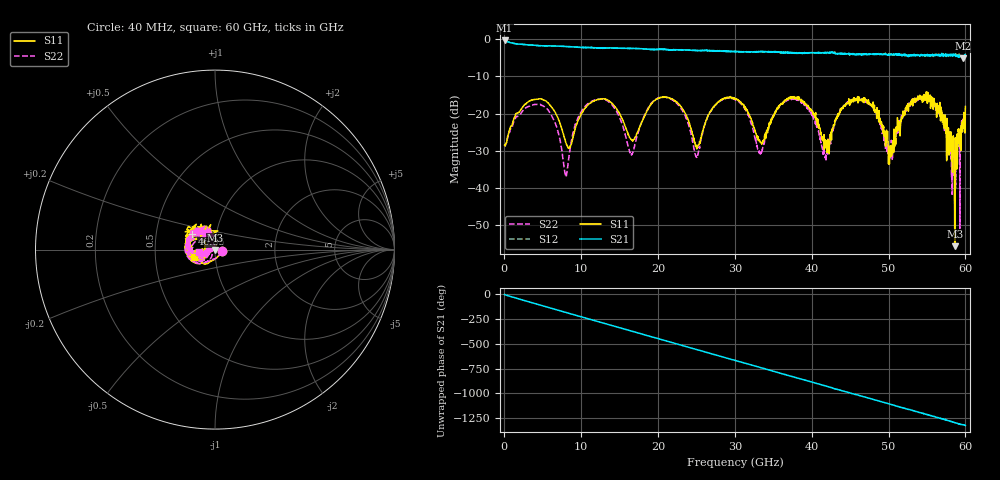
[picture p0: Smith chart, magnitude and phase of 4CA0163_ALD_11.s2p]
! File created by 'SoftPlot +Plus+ Measurement Management Software'
! SoftPlot +Plus+ Measurement Management Software
! Start 40.000000 MHz  Stop 60.000000 GHz  Points 1601
# MHZ S RI R 50
! S-Parameter data, F S11 S21 S12 S22
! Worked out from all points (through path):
!   1601 points, 40 MHz to 60 GHz, reference 50 ohm
!   highest |S21| = -0.37 dB at 40 MHz (marker M1); lowest = -5.2 dB at 59.66 GHz (marker M2)
!   group delay of S21, straight-line fit = 61.1 ps
!   lowest |S11| = -55.6 dB at 58.61 GHz (marker M3), VSWR 1.00, Z = 50 - j0.165 ohm
!   |S11| at or under -10 dB: start of sweep to end of sweep
!   |S22| runs from -50.8 to -15.4 dB; largest |S21 - S12| = 0.075
!   S11 on the Smith chart (normalised r, x): 40 MHz: 1.08, -0.02; 46.85 GHz: 0.76, +0.14; 60 GHz: 0.79, -0.07
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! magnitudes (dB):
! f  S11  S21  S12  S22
! 40 MHz  -28.4  -0.4  -0.4  -28.4
! 4.874 GHz  -16.2  -1.8  -1.8  -17.8
! 8.022 GHz  -27.9  -2.0  -2.0  -37.0
! 10.05 GHz  -20.1  -2.3  -2.3  -19.4
! 13.64 GHz  -16.6  -2.3  -2.4  -16.9
! 16.57 GHz  -27.1  -2.5  -2.5  -30.8
! 20.05 GHz  -15.9  -2.8  -2.7  -15.8
! 23.01 GHz  -18.3  -2.8  -3.0  -18.7
! 25.04 GHz  -29.5  -3.1  -3.1  -31.8
! 27.06 GHz  -18.7  -3.1  -3.0  -18.7
! 30.02 GHz  -16.0  -3.3  -3.3  -16.2
! 33.28 GHz  -27.6  -3.4  -3.4  -30.5
! 36.54 GHz  -16.3  -3.5  -3.6  -16.7
! 40.03 GHz  -19.4  -3.6  -3.7  -20.5
! 41.86 GHz  -29.1  -3.6  -3.6  -32.5
! 43.89 GHz  -18.6  -3.9  -3.9  -19.0
! 46.85 GHz  -16.2  -4.0  -4.1  -16.7
! 50.03 GHz  -31.4  -4.1  -4.1  -32.5
! 54.57 GHz  -16.6  -4.4  -4.4  -16.1
! 58.61 GHz  -55.6  -4.1  -4.0  -35.8
! 59.66 GHz  -22.6  -5.2  -4.5  -22.9
! 60 GHz  -18.1  -4.6  -4.8  -20.7
